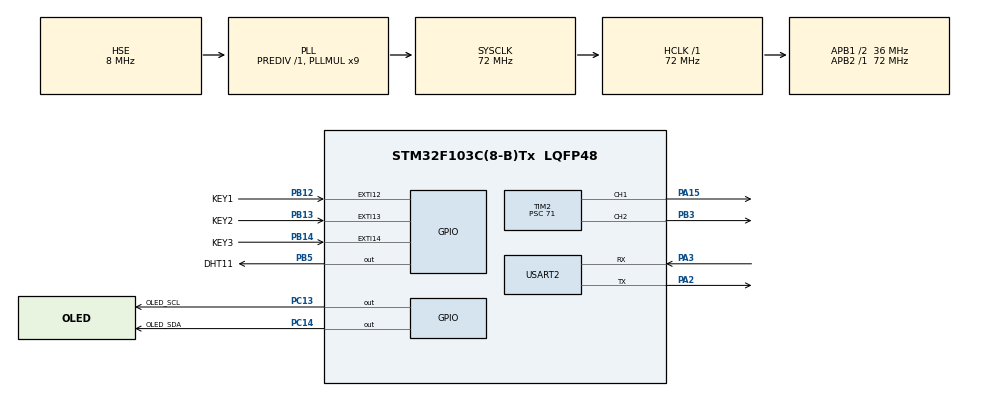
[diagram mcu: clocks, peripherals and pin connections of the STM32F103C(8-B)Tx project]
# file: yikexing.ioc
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Mcu.Family=STM32F1
Mcu.Name=STM32F103C(8-B)Tx
Mcu.Package=LQFP48
NVIC.EXTI15_10_IRQn=true\:0\:0\:false\:false\:true\:true\:true\:true
NVIC.PriorityGroup=NVIC_PRIORITYGROUP_4
NVIC.USART2_IRQn=true\:1\:0\:true\:false\:true\:true\:true\:true
PA13.Mode=Serial_Wire
PA13.Signal=SYS_JTMS-SWDIO
PA14.Mode=Serial_Wire
PA14.Signal=SYS_JTCK-SWCLK
PA15.Signal=S_TIM2_CH1_ETR
PA2.Mode=Asynchronous
PA2.Signal=USART2_TX
PA3.Mode=Asynchronous
PA3.Signal=USART2_RX
PB12.GPIO_Label=KEY1
PB12.GPIO_ModeDefaultEXTI=GPIO_MODE_IT_FALLING
PB12.GPIO_PuPd=GPIO_PULLUP
PB12.Signal=GPXTI12
PB13.GPIO_Label=KEY2
PB13.GPIO_ModeDefaultEXTI=GPIO_MODE_IT_FALLING
PB13.GPIO_PuPd=GPIO_PULLUP
PB13.Signal=GPXTI13
PB14.GPIO_Label=KEY3
PB14.GPIO_ModeDefaultEXTI=GPIO_MODE_IT_FALLING
PB14.GPIO_PuPd=GPIO_PULLUP
PB14.Signal=GPXTI14
PB3.Signal=S_TIM2_CH2
PB5.GPIO_Label=DHT11
PB5.GPIO_ModeDefaultOutputPP=GPIO_MODE_OUTPUT_PP
PB5.GPIO_PuPd=GPIO_PULLUP
PB5.GPIO_Speed=GPIO_SPEED_FREQ_HIGH
PB5.PinState=GPIO_PIN_SET
PB5.Signal=GPIO_Output
PC13-TAMPER-RTC.GPIO_Label=OLED_SCL
PC13-TAMPER-RTC.GPIO_ModeDefaultOutputPP=GPIO_MODE_OUTPUT_PP
PC13-TAMPER-RTC.GPIO_PuPd=GPIO_PULLUP
PC13-TAMPER-RTC.GPIO_Speed=GPIO_SPEED_FREQ_HIGH
PC13-TAMPER-RTC.PinState=GPIO_PIN_SET
PC13-TAMPER-RTC.Signal=GPIO_Output
PC14-OSC32_IN.GPIO_Label=OLED_SDA
PC14-OSC32_IN.GPIO_ModeDefaultOutputPP=GPIO_MODE_OUTPUT_PP
PC14-OSC32_IN.GPIO_PuPd=GPIO_PULLUP
PC14-OSC32_IN.GPIO_Speed=GPIO_SPEED_FREQ_HIGH
PC14-OSC32_IN.PinState=GPIO_PIN_SET
PC14-OSC32_IN.Signal=GPIO_Output
PD0-OSC_IN.Mode=HSE-External-Oscillator
PD0-OSC_IN.Signal=RCC_OSC_IN
PD1-OSC_OUT.Mode=HSE-External-Oscillator
PD1-OSC_OUT.Signal=RCC_OSC_OUT
ProjectManager.HeapSize=0x200
ProjectManager.StackSize=0x400
ProjectManager.TargetToolchain=MDK-ARM V5.32
RCC.AHBFreq_Value=72000000
RCC.APB1CLKDivider=RCC_HCLK_DIV2
RCC.APB1Freq_Value=36000000
RCC.APB1TimFreq_Value=72000000
RCC.APB2Freq_Value=72000000
RCC.APB2TimFreq_Value=72000000
RCC.HCLKFreq_Value=72000000
RCC.PLLMUL=RCC_PLL_MUL9
RCC.PLLSourceVirtual=RCC_PLLSOURCE_HSE
RCC.SYSCLKFreq_VALUE=72000000
RCC.SYSCLKSource=RCC_SYSCLKSOURCE_PLLCLK
RCC.USBFreq_Value=72000000
SH.S_TIM2_CH1_ETR.0=TIM2_CH1,PWM Generation1 CH1
SH.S_TIM2_CH2.0=TIM2_CH2,PWM Generation2 CH2
TIM2.AutoReloadPreload=TIM_AUTORELOAD_PRELOAD_ENABLE
TIM2.Channel-PWM\ Generation1\ CH1=TIM_CHANNEL_1
TIM2.Channel-PWM\ Generation2\ CH2=TIM_CHANNEL_2
TIM2.Prescaler=71
USART2.VirtualMode=VM_ASYNC
board=custom

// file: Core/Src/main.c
/* USER CODE BEGIN Header */
/**
  ******************************************************************************
  * @file           : main.c
  * @brief          : Main program body
  ******************************************************************************
  * @attention
  *
  * Copyright (c) 2026 STMicroelectronics.
  * All rights reserved.
  *
  * This software is licensed under terms that can be found in the LICENSE file
  * in the root directory of this software component.
  * If no LICENSE file comes with this software, it is provided AS-IS.
  *
  ******************************************************************************
  */
/* USER CODE END Header */
#include "main.h"
#include "tim.h"
#include "usart.h"
#include "gpio.h"

/* USER CODE BEGIN Includes */
#include "oled.h"
#include "dht11.h"
#include "flash_storage.h"
#include "usart.h"
#include <stdio.h>
#include <string.h>
/* USER CODE END Includes */

/* USER CODE BEGIN PV */
typedef enum {
    STATE_NORMAL,
    STATE_SETTING,
    STATE_SAVE
} SystemState_t;

typedef enum {
    SELECT_TEMP,
    SELECT_HUMI
} SelectItem_t;

SystemState_t system_state = STATE_NORMAL;
SelectItem_t select_item = SELECT_TEMP;
uint8_t temp_threshold = 20;
uint8_t humi_threshold = 60;
volatile uint8_t key1_pressed = 0;
volatile uint8_t key2_pressed = 0;
volatile uint8_t key3_pressed = 0;
volatile uint32_t key1_last_time = 0;
volatile uint32_t key2_last_time = 0;
volatile uint32_t key3_last_time = 0;
uint8_t last_temp_threshold = 255;
uint8_t last_humi_threshold = 255;
SelectItem_t last_select_item = SELECT_TEMP + 1;
uint8_t first_enter_setting = 1;
uint32_t last_send_time = 0;
volatile uint8_t uart_rx_flag = 0;
uint8_t uart_rx_buf[32];
uint8_t uart_rx_idx = 0;
uint8_t led_manual_mode = 0;
uint8_t fan_manual_mode = 0;
uint8_t uart_rx_byte;
/* USER CODE END PV */

void SystemClock_Config(void);

int main(void)
{

  /* MCU Configuration--------------------------------------------------------*/

  /* Reset of all peripherals, Initializes the Flash interface and the Systick. */
  HAL_Init();

  /* Configure the system clock */
  SystemClock_Config();

  /* Initialize all configured peripherals */
  MX_GPIO_Init();
  MX_TIM2_Init();
  MX_USART2_UART_Init();
  /* USER CODE BEGIN 2 */
  HAL_Delay(500);

  OLED_Init();
  OLED_Clear();
  OLED_ShowString(0, 0, (uint8_t*)"Init...", 8, 1);
  OLED_Refresh();

  HAL_Delay(500);

  DHT11_Init();

  // 读取Flash
  OLED_ShowString(0, 16, (uint8_t*)"Read Flash", 8, 1);
  OLED_Refresh();
  Flash_Init();

  FlashData_t flash_data;
  if (Flash_ReadData(&flash_data)) {
      temp_threshold = flash_data.temp_threshold;
      humi_threshold = flash_data.humi_threshold;
      OLED_ShowString(0, 16, (uint8_t*)"Load OK", 8, 1);
  } else {
      OLED_ShowString(0, 16, (uint8_t*)"Default", 8, 1);
      // 首次使用写入默认值
      OLED_ShowString(0, 32, (uint8_t*)"Write...", 8, 1);
      OLED_Refresh();
      Flash_WriteData(temp_threshold, humi_threshold);
  }
  OLED_Refresh();
  HAL_Delay(1000);

  __HAL_TIM_SET_COMPARE(&htim2, TIM_CHANNEL_1, 0);
  __HAL_TIM_SET_COMPARE(&htim2, TIM_CHANNEL_2, 0);
  HAL_TIM_PWM_Start(&htim2, TIM_CHANNEL_1);
  HAL_TIM_PWM_Start(&htim2, TIM_CHANNEL_2);

  // 启动串口中断接收
  HAL_UART_Receive_IT(&huart2, &uart_rx_byte, 1);

  OLED_Clear();
  OLED_ShowString(0, 0, (uint8_t*)"Temp:", 8, 1);
  OLED_ShowString(0, 16, (uint8_t*)"FAN:", 8, 1);
  OLED_Refresh();
  /* USER CODE END 2 */

  /* Infinite loop */
  while (1)
  {

    /* USER CODE BEGIN 3 */
    char str[32];

    // 串口命令解析
    if (uart_rx_flag) {
        uart_rx_flag = 0;
        // 发送确认信号
        HAL_UART_Transmit(&huart2, (uint8_t*)"OK\r\n", 4, 100);
        if (strstr((char*)uart_rx_buf, "ledon") != NULL) {
            led_manual_mode = 1;
            __HAL_TIM_SET_COMPARE(&htim2, TIM_CHANNEL_1, 65535);
        }
        if (strstr((char*)uart_rx_buf, "ledoff") != NULL) {
            led_manual_mode = 0;
            __HAL_TIM_SET_COMPARE(&htim2, TIM_CHANNEL_1, 0);
        }
        if (strstr((char*)uart_rx_buf, "fanon") != NULL) {
            fan_manual_mode = 1;
            __HAL_TIM_SET_COMPARE(&htim2, TIM_CHANNEL_2, 65535);
        }
        if (strstr((char*)uart_rx_buf, "fanoff") != NULL) {
            fan_manual_mode = 0;
            __HAL_TIM_SET_COMPARE(&htim2, TIM_CHANNEL_2, 0);
        }
        uart_rx_idx = 0; // 重置缓冲区
        uart_rx_buf[0] = '\0';
    }

    if (key1_pressed) {
        key1_pressed = 0;
        if (system_state == STATE_NORMAL) {
            system_state = STATE_SETTING;
            select_item = SELECT_TEMP;
            first_enter_setting = 1;
        } else if (system_state == STATE_SETTING) {
            if (select_item == SELECT_TEMP) {
                select_item = SELECT_HUMI;
            } else {
                system_state = STATE_SAVE;
            }
        }
    }

    if (key2_pressed) {
        key2_pressed = 0;
        if (system_state == STATE_SETTING) {
            if (select_item == SELECT_TEMP) {
                if (temp_threshold < 60) temp_threshold++;
            } else {
                if (humi_threshold < 100) humi_threshold++;
            }
        }
    }

    if (key3_pressed) {
        key3_pressed = 0;
        if (system_state == STATE_SETTING) {
            if (select_item == SELECT_TEMP) {
                if (temp_threshold > 0) temp_threshold--;
            } else {
                if (humi_threshold > 0) humi_threshold--;
            }
        }
    }

    if (system_state == STATE_NORMAL) {
        char fan_str[20];
        char uart_str[32];
        DHT11_Data_TypeDef dht_data;
        uint32_t pwm_period = 65535;
        static uint8_t last_temp_int = 0;
        static uint8_t last_temp_dec = 0;
        static uint8_t last_humi_int = 0;
        static uint8_t last_humi_dec = 0;

        if(DHT11_Read_Data(&dht_data) == 0)
        {
            last_temp_int = dht_data.temp_int;
            last_temp_dec = dht_data.temp_dec;
            last_humi_int = dht_data.humi_int;
            last_humi_dec = dht_data.humi_dec;

            sprintf(str, "%d.%dC H:%d.%d%%", dht_data.temp_int, dht_data.temp_dec, dht_data.humi_int, dht_data.humi_dec);

            int8_t temp = (int8_t)dht_data.temp_int;
            if (!led_manual_mode) {
                if(temp < temp_threshold)
                {
                    uint32_t temp_diff = temp_threshold - temp;
                    if(temp_diff > temp_threshold) temp_diff = temp_threshold;
                    uint32_t pwm_value = (temp_diff * pwm_period) / temp_threshold;
                    __HAL_TIM_SET_COMPARE(&htim2, TIM_CHANNEL_1, pwm_value);
                }
                else
                {
                    __HAL_TIM_SET_COMPARE(&htim2, TIM_CHANNEL_1, 0);
                }
            }

            uint32_t humi_diff = 0;
            if (!fan_manual_mode) {
                if(dht_data.humi_int > humi_threshold)
                {
                    uint8_t max_diff = 100 - humi_threshold;
                    humi_diff = dht_data.humi_int - humi_threshold;
                    if(humi_diff > max_diff) humi_diff = max_diff;
                    uint32_t pwm_value = (humi_diff * pwm_period) / max_diff;
                    __HAL_TIM_SET_COMPARE(&htim2, TIM_CHANNEL_2, pwm_value);
                    uint32_t fan_speed = (humi_diff * 100) / max_diff;
                    sprintf(fan_str, "ON %d%%", fan_speed);
                }
                else
                {
                    __HAL_TIM_SET_COMPARE(&htim2, TIM_CHANNEL_2, 0);
                    sprintf(fan_str, "OFF      ");
                }
            } else {
                uint32_t fan_pwm = __HAL_TIM_GET_COMPARE(&htim2, TIM_CHANNEL_2);
                if (fan_pwm > 0) {
                    uint32_t fan_speed = (fan_pwm * 100) / pwm_period;
                    sprintf(fan_str, "ON %d%%", fan_speed);
                } else {
                    sprintf(fan_str, "OFF      ");
                }
            }

            OLED_ShowString(40, 0, (uint8_t*)str, 8, 1);
            OLED_ShowString(40, 16, (uint8_t*)fan_str, 8, 1);
            OLED_Refresh();
        }
        else
        {
            OLED_ShowString(40, 0, (uint8_t*)"Error", 8, 1);
            OLED_ShowString(40, 16, (uint8_t*)"     ", 8, 1);
            OLED_Refresh();
            // 只有非手动模式才关闭
            if (!led_manual_mode) {
                __HAL_TIM_SET_COMPARE(&htim2, TIM_CHANNEL_1, 0);
            }
            if (!fan_manual_mode) {
                __HAL_TIM_SET_COMPARE(&htim2, TIM_CHANNEL_2, 0);
            }
        }

        // 每5秒发送一次数据到蓝牙
        uint32_t current_time = HAL_GetTick();
        if (current_time - last_send_time >= 5000) {
            last_send_time = current_time;
            // 格式：temp:xxC,hum:xx%
            sprintf(uart_str, "temp:%d.%dC,hum:%d.%d%%\r\n",
                    last_temp_int, last_temp_dec, last_humi_int, last_humi_dec);
            HAL_UART_Transmit(&huart2, (uint8_t*)uart_str, strlen(uart_str), 100);
        }

        HAL_Delay(2000);
    } else if (system_state == STATE_SETTING) {
        uint8_t need_refresh = 0;

        if (first_enter_setting) {
            need_refresh = 1;
            first_enter_setting = 0;
        } else if (temp_threshold != last_temp_threshold ||
                  humi_threshold != last_humi_threshold ||
                  select_item != last_select_item) {
            need_refresh = 1;
        }

        if (need_refresh) {
            OLED_Clear();
            // 显示温度
            if (select_item == SELECT_TEMP) {
                OLED_ShowString(0, 0, (uint8_t*)">Temp:", 8, 1);
            } else {
                OLED_ShowString(0, 0, (uint8_t*)" Temp:", 8, 1);
            }
            sprintf(str, "%d", temp_threshold);
            OLED_ShowString(40, 0, (uint8_t*)str, 8, 1);

            // 显示湿度
            if (select_item == SELECT_HUMI) {
                OLED_ShowString(0, 16, (uint8_t*)">Humi:", 8, 1);
            } else {
                OLED_ShowString(0, 16, (uint8_t*)" Humi:", 8, 1);
            }
            sprintf(str, "%d", humi_threshold);
            OLED_ShowString(40, 16, (uint8_t*)str, 8, 1);

            // 提示
            OLED_ShowString(0, 32, (uint8_t*)"KEY1:Next/Save", 8, 1);
            OLED_Refresh();

            last_temp_threshold = temp_threshold;
            last_humi_threshold = humi_threshold;
            last_select_item = select_item;
        }
        HAL_Delay(50);
    } else if (system_state == STATE_SAVE) {
        OLED_Clear();
        OLED_ShowString(0, 0, (uint8_t*)"Saving...", 8, 1);
        OLED_Refresh();
        if (Flash_WriteData(temp_threshold, humi_threshold)) {
            OLED_ShowString(0, 16, (uint8_t*)"OK!", 8, 1);
        } else {
            OLED_ShowString(0, 16, (uint8_t*)"Fail!", 8, 1);
        }
        OLED_Refresh();
        HAL_Delay(1000);
        system_state = STATE_NORMAL;
        OLED_Clear();
        OLED_ShowString(0, 0, (uint8_t*)"Temp:", 8, 1);
        OLED_ShowString(0, 16, (uint8_t*)"FAN:", 8, 1);
        OLED_Refresh();
    }
  }
  /* USER CODE END 3 */
}

void SystemClock_Config(void)
{
  RCC_OscInitTypeDef RCC_OscInitStruct = {0};
  RCC_ClkInitTypeDef RCC_ClkInitStruct = {0};

  /** Initializes the RCC Oscillators according to the specified parameters
  * in the RCC_OscInitTypeDef structure.
  */
  RCC_OscInitStruct.OscillatorType = RCC_OSCILLATORTYPE_HSE;
  RCC_OscInitStruct.HSEState = RCC_HSE_ON;
  RCC_OscInitStruct.HSEPredivValue = RCC_HSE_PREDIV_DIV1;
  RCC_OscInitStruct.HSIState = RCC_HSI_ON;
  RCC_OscInitStruct.PLL.PLLState = RCC_PLL_ON;
  RCC_OscInitStruct.PLL.PLLSource = RCC_PLLSOURCE_HSE;
  RCC_OscInitStruct.PLL.PLLMUL = RCC_PLL_MUL9;
  if (HAL_RCC_OscConfig(&RCC_OscInitStruct) != HAL_OK)
  {
    Error_Handler();
  }

  /** Initializes the CPU, AHB and APB buses clocks
  */
  RCC_ClkInitStruct.ClockType = RCC_CLOCKTYPE_HCLK|RCC_CLOCKTYPE_SYSCLK
                              |RCC_CLOCKTYPE_PCLK1|RCC_CLOCKTYPE_PCLK2;
  RCC_ClkInitStruct.SYSCLKSource = RCC_SYSCLKSOURCE_PLLCLK;
  RCC_ClkInitStruct.AHBCLKDivider = RCC_SYSCLK_DIV1;
  RCC_ClkInitStruct.APB1CLKDivider = RCC_HCLK_DIV2;
  RCC_ClkInitStruct.APB2CLKDivider = RCC_HCLK_DIV1;

  if (HAL_RCC_ClockConfig(&RCC_ClkInitStruct, FLASH_LATENCY_2) != HAL_OK)
  {
    Error_Handler();
  }
}

/* USER CODE BEGIN 4 */
void HAL_GPIO_EXTI_Callback(uint16_t GPIO_Pin) {
    uint32_t now = HAL_GetTick();

    if (GPIO_Pin == KEY1_Pin) {
        if (now - key1_last_time > 200) {
            key1_pressed = 1;
            key1_last_time = now;
        }
    } else if (GPIO_Pin == KEY2_Pin) {
        if (now - key2_last_time > 200) {
            key2_pressed = 1;
            key2_last_time = now;
        }
    } else if (GPIO_Pin == KEY3_Pin) {
        if (now - key3_last_time > 200) {
            key3_pressed = 1;
            key3_last_time = now;
        }
    }
}
/* USER CODE END 4 */

void Error_Handler(void)
{
  __disable_irq();
  while (1)
  {
  }
}
